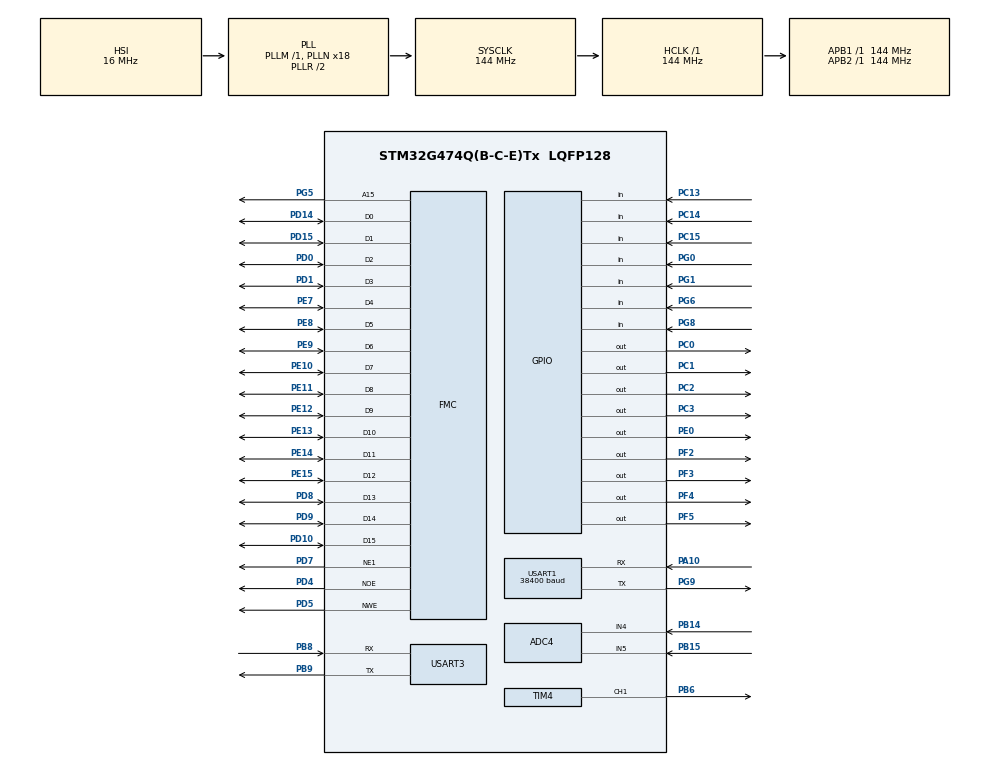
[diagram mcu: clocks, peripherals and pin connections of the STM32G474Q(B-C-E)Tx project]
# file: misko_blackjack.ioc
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ADC4.Channel-0\#ChannelRegularConversion=ADC_CHANNEL_4
ADC4.Channel-1\#ChannelRegularConversion=ADC_CHANNEL_5
ADC4.ClockPrescaler=ADC_CLOCK_SYNC_PCLK_DIV4
ADC4.DMAContinuousRequests=ENABLE
ADC4.ExternalTrigConv=ADC_EXTERNALTRIG_T1_TRGO2
ADC4.NbrOfConversion=2
ADC4.NbrOfConversionFlag=1
ADC4.OffsetNumber-0\#ChannelRegularConversion=ADC_OFFSET_NONE
ADC4.OffsetNumber-1\#ChannelRegularConversion=ADC_OFFSET_NONE
ADC4.Rank-0\#ChannelRegularConversion=1
ADC4.Rank-1\#ChannelRegularConversion=2
ADC4.SamplingTime-0\#ChannelRegularConversion=ADC_SAMPLETIME_2CYCLES_5
ADC4.SamplingTime-1\#ChannelRegularConversion=ADC_SAMPLETIME_2CYCLES_5
Dma.ADC4.0.Direction=DMA_PERIPH_TO_MEMORY
Dma.ADC4.0.EventEnable=DISABLE
Dma.ADC4.0.Instance=DMA1_Channel1
Dma.ADC4.0.MemDataAlignment=DMA_MDATAALIGN_HALFWORD
Dma.ADC4.0.MemInc=DMA_MINC_ENABLE
Dma.ADC4.0.Mode=DMA_CIRCULAR
Dma.ADC4.0.PeriphDataAlignment=DMA_PDATAALIGN_HALFWORD
Dma.ADC4.0.PeriphInc=DMA_PINC_DISABLE
Dma.ADC4.0.Polarity=HAL_DMAMUX_REQ_GEN_RISING
Dma.ADC4.0.Priority=DMA_PRIORITY_LOW
Dma.ADC4.0.RequestNumber=1
Dma.ADC4.0.SignalID=NONE
Dma.ADC4.0.SyncEnable=DISABLE
Dma.ADC4.0.SyncPolarity=HAL_DMAMUX_SYNC_NO_EVENT
Dma.ADC4.0.SyncRequestNumber=1
Dma.ADC4.0.SyncSignalID=NONE
Dma.Request0=ADC4
FMC.AddressSetupTime1=1
FMC.BusTurnAroundDuration1=1
FMC.DataHoldTime1=1
FMC.DataSetupTime1=1
Mcu.Family=STM32G4
Mcu.Name=STM32G474Q(B-C-E)Tx
Mcu.Package=LQFP128
NVIC.DMA1_Channel1_IRQn=true\:0\:0\:false\:false\:true\:false\:true\:true
NVIC.PriorityGroup=NVIC_PRIORITYGROUP_4
NVIC.TIM6_DAC_IRQn=true\:0\:0\:false\:false\:true\:true\:true\:true
NVIC.USART1_IRQn=true\:0\:0\:false\:false\:true\:true\:true\:true
NVIC.USART3_IRQn=true\:0\:0\:false\:false\:true\:true\:true\:true
PA10.Mode=Asynchronous
PA10.Signal=USART1_RX
PB14.Mode=IN4-Single-Ended
PB14.Signal=ADC4_IN4
PB15.Mode=IN5-Single-Ended
PB15.Signal=ADC4_IN5
PB6.Signal=S_TIM4_CH1
PB8-BOOT0.Mode=Asynchronous
PB8-BOOT0.Signal=USART3_RX
PB9.Mode=Asynchronous
PB9.Signal=USART3_TX
PC0.Signal=GPIO_Output
PC1.Signal=GPIO_Output
PC12.Signal=UART5_TX
PC13.GPIO_PuPd=GPIO_PULLUP
PC13.Signal=GPIO_Input
PC14-OSC32_IN.GPIO_PuPd=GPIO_PULLUP
PC14-OSC32_IN.Signal=GPIO_Input
PC15-OSC32_OUT.GPIO_PuPd=GPIO_PULLUP
PC15-OSC32_OUT.Signal=GPIO_Input
PC2.Signal=GPIO_Output
PC3.Signal=GPIO_Output
PD0.Signal=FMC_D2_DA2
PD1.Signal=FMC_D3_DA3
PD10.Signal=FMC_D15_DA15
PD14.Signal=FMC_D0_DA0
PD15.Signal=FMC_D1_DA1
PD2.Signal=UART5_RX
PD4.Signal=FMC_NOE
PD5.Signal=FMC_NWE
PD7.Mode=NorPsramChipSelect1_1
PD7.Signal=FMC_NE1
PD8.Signal=FMC_D13_DA13
PD9.Signal=FMC_D14_DA14
PE0.Signal=GPIO_Output
PE10.Signal=FMC_D7_DA7
PE11.Signal=FMC_D8_DA8
PE12.Signal=FMC_D9_DA9
PE13.Signal=FMC_D10_DA10
PE14.Signal=FMC_D11_DA11
PE15.Signal=FMC_D12_DA12
PE7.Signal=FMC_D4_DA4
PE8.Signal=FMC_D5_DA5
PE9.Signal=FMC_D6_DA6
PF2.Signal=GPIO_Output
PF3.Signal=GPIO_Output
PF4.Signal=GPIO_Output
PF5.Signal=GPIO_Output
PG0.GPIO_PuPd=GPIO_PULLUP
PG0.Signal=GPIO_Input
PG1.GPIO_PuPd=GPIO_PULLUP
PG1.Signal=GPIO_Input
PG5.Signal=FMC_A15
PG6.GPIO_PuPd=GPIO_PULLUP
PG6.Signal=GPIO_Input
PG8.GPIO_PuPd=GPIO_PULLUP
PG8.Signal=GPIO_Input
PG9.Mode=Asynchronous
PG9.Signal=USART1_TX
ProjectManager.HeapSize=0x200
ProjectManager.StackSize=0x400
ProjectManager.TargetToolchain=STM32CubeIDE
RCC.ADC12Freq_Value=144000000
RCC.ADC345Freq_Value=144000000
RCC.AHBFreq_Value=144000000
RCC.APB1Freq_Value=144000000
RCC.APB1TimFreq_Value=144000000
RCC.APB2Freq_Value=144000000
RCC.APB2TimFreq_Value=144000000
RCC.CortexFreq_Value=144000000
RCC.EXTERNAL_CLOCK_VALUE=12288000
RCC.HCLKFreq_Value=144000000
RCC.HSE_VALUE=8000000
RCC.HSI48_VALUE=48000000
RCC.HSI_VALUE=16000000
RCC.LSE_VALUE=32768
RCC.PLLN=18
RCC.PLLQ=RCC_PLLQ_DIV6
RCC.SYSCLKFreq_VALUE=144000000
RCC.SYSCLKSource=RCC_SYSCLKSOURCE_PLLCLK
RCC.USBFreq_Value=48000000
RCC.VCOOutputFreq_Value=288000000
SH.FMC_A15.0=FMC_A15,A15_1
SH.FMC_D0_DA0.0=FMC_D0,16b-d1
SH.FMC_D10_DA10.0=FMC_D10,16b-d1
SH.FMC_D11_DA11.0=FMC_D11,16b-d1
SH.FMC_D12_DA12.0=FMC_D12,16b-d1
SH.FMC_D13_DA13.0=FMC_D13,16b-d1
SH.FMC_D14_DA14.0=FMC_D14,16b-d1
SH.FMC_D15_DA15.0=FMC_D15,16b-d1
SH.FMC_D1_DA1.0=FMC_D1,16b-d1
SH.FMC_D2_DA2.0=FMC_D2,16b-d1
SH.FMC_D3_DA3.0=FMC_D3,16b-d1
SH.FMC_D4_DA4.0=FMC_D4,16b-d1
SH.FMC_D5_DA5.0=FMC_D5,16b-d1
SH.FMC_D6_DA6.0=FMC_D6,16b-d1
SH.FMC_D7_DA7.0=FMC_D7,16b-d1
SH.FMC_D8_DA8.0=FMC_D8,16b-d1
SH.FMC_D9_DA9.0=FMC_D9,16b-d1
SH.FMC_NOE.0=FMC_NOE,Lcd1
SH.FMC_NWE.0=FMC_NWE,Lcd1
SH.S_TIM4_CH1.0=TIM4_CH1,PWM Generation1 CH1
TIM1.PeriodNoDither=99
TIM1.Prescaler=14999
TIM1.TIM_MasterOutputTrigger2=TIM_TRGO2_UPDATE
TIM4.Channel-PWM\ Generation1\ CH1=TIM_CHANNEL_1
TIM4.PeriodNoDither=99
TIM4.Prescaler=1439
TIM6.PeriodNoDither=49999
TIM6.Prescaler=143
USART1.BaudRate=38400
USART1.VirtualMode-Asynchronous=VM_ASYNC
USART3.OverrunDisableParam=ADVFEATURE_OVERRUN_DISABLE
USART3.VirtualMode-Asynchronous=VM_ASYNC
VP_RNG_VS_RNG.Mode=RNG_Activate
VP_SYS_VS_DBSignals.Mode=DisableDeadBatterySignals
VP_TIM1_VS_ClockSourceINT.Mode=Internal
VP_TIM4_VS_ClockSourceINT.Mode=Internal
VP_TIM6_VS_ClockSourceINT.Mode=Enable_Timer
board=custom

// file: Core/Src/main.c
/* USER CODE BEGIN Header */
/**
  ******************************************************************************
  * @file           : main.c
  * @brief          : Main program body
  ******************************************************************************
  * @attention
  *
  * Copyright (c) 2026 STMicroelectronics.
  * All rights reserved.
  *
  * This software is licensed under terms that can be found in the LICENSE file
  * in the root directory of this software component.
  * If no LICENSE file comes with this software, it is provided AS-IS.
  *
  ******************************************************************************
  */
/* USER CODE END Header */
#include "main.h"

/* USER CODE BEGIN Includes */
#include "deck.h"
#include "hand.h"
#include "game_controller.h"
#include "kbd.h"
#include "device_mode.h"
#include "joystick.h"
#include "SCI.h"
#include "menu.h"
#include "communication.h"
#include "blackjack_app.h"
#include "lcd.h"
#include "blackjack_ui.h"
#include "LED.h"
#include <string.h>
#include "stm32g4xx_ll_usart.h"
/* USER CODE END Includes */

ADC_HandleTypeDef hadc4;
DMA_HandleTypeDef hdma_adc4;

RNG_HandleTypeDef hrng;

TIM_HandleTypeDef htim1;

UART_HandleTypeDef huart1;

SRAM_HandleTypeDef hsram1;

/* USER CODE BEGIN PV */
blackjack_app_t app;
/* USER CODE END PV */

void SystemClock_Config(void);
static void MX_GPIO_Init(void);
static void MX_DMA_Init(void);
static void MX_ADC4_Init(void);
static void MX_FMC_Init(void);
static void MX_TIM1_Init(void);
static void MX_TIM4_Init(void);
static void MX_TIM6_Init(void);
static void MX_USART3_UART_Init(void);
static void MX_RNG_Init(void);
static void MX_USART1_UART_Init(void);

int main(void)
{

  /* MCU Configuration--------------------------------------------------------*/

  /* Reset of all peripherals, Initializes the Flash interface and the Systick. */
  HAL_Init();

  /* Configure the system clock */
  SystemClock_Config();

  /* Initialize all configured peripherals */
  MX_GPIO_Init();
  MX_DMA_Init();
  MX_ADC4_Init();
  MX_FMC_Init();
  MX_TIM1_Init();
  MX_TIM4_Init();
  MX_TIM6_Init();
  MX_USART3_UART_Init();
  MX_RNG_Init();
  MX_USART1_UART_Init();
  /* USER CODE BEGIN 2 */
  SCI_init();
  JOY_init(&hadc4, &htim1);
  KBD_init();
  BlackjackApp_Init(&app);
  LCD_Init();
  LCD_uGUI_init();
  SCI_RX_buffer_flush();

  /* USER CODE END 2 */

  /* Infinite loop */
  /* USER CODE BEGIN WHILE */

  while (1)
  {

	  KBD_scan();

	  BlackjackApp_Update(&app);
	  BlackjackUI_Update(&app);

    /* USER CODE END WHILE */

  }
}

void SystemClock_Config(void)
{
  RCC_OscInitTypeDef RCC_OscInitStruct = {0};
  RCC_ClkInitTypeDef RCC_ClkInitStruct = {0};

  /** Configure the main internal regulator output voltage
  */
  HAL_PWREx_ControlVoltageScaling(PWR_REGULATOR_VOLTAGE_SCALE1);

  /** Initializes the RCC Oscillators according to the specified parameters
  * in the RCC_OscInitTypeDef structure.
  */
  RCC_OscInitStruct.OscillatorType = RCC_OSCILLATORTYPE_HSI;
  RCC_OscInitStruct.HSIState = RCC_HSI_ON;
  RCC_OscInitStruct.HSICalibrationValue = RCC_HSICALIBRATION_DEFAULT;
  RCC_OscInitStruct.PLL.PLLState = RCC_PLL_ON;
  RCC_OscInitStruct.PLL.PLLSource = RCC_PLLSOURCE_HSI;
  RCC_OscInitStruct.PLL.PLLM = RCC_PLLM_DIV1;
  RCC_OscInitStruct.PLL.PLLN = 18;
  RCC_OscInitStruct.PLL.PLLP = RCC_PLLP_DIV2;
  RCC_OscInitStruct.PLL.PLLQ = RCC_PLLQ_DIV6;
  RCC_OscInitStruct.PLL.PLLR = RCC_PLLR_DIV2;
  if (HAL_RCC_OscConfig(&RCC_OscInitStruct) != HAL_OK)
  {
    Error_Handler();
  }

  /** Initializes the CPU, AHB and APB buses clocks
  */
  RCC_ClkInitStruct.ClockType = RCC_CLOCKTYPE_HCLK|RCC_CLOCKTYPE_SYSCLK
                              |RCC_CLOCKTYPE_PCLK1|RCC_CLOCKTYPE_PCLK2;
  RCC_ClkInitStruct.SYSCLKSource = RCC_SYSCLKSOURCE_PLLCLK;
  RCC_ClkInitStruct.AHBCLKDivider = RCC_SYSCLK_DIV1;
  RCC_ClkInitStruct.APB1CLKDivider = RCC_HCLK_DIV1;
  RCC_ClkInitStruct.APB2CLKDivider = RCC_HCLK_DIV1;

  if (HAL_RCC_ClockConfig(&RCC_ClkInitStruct, FLASH_LATENCY_4) != HAL_OK)
  {
    Error_Handler();
  }
}

static void MX_ADC4_Init(void)
{

  ADC_ChannelConfTypeDef sConfig = {0};

  /** Common config
  */
  hadc4.Instance = ADC4;
  hadc4.Init.ClockPrescaler = ADC_CLOCK_SYNC_PCLK_DIV4;
  hadc4.Init.Resolution = ADC_RESOLUTION_12B;
  hadc4.Init.DataAlign = ADC_DATAALIGN_RIGHT;
  hadc4.Init.GainCompensation = 0;
  hadc4.Init.ScanConvMode = ADC_SCAN_ENABLE;
  hadc4.Init.EOCSelection = ADC_EOC_SINGLE_CONV;
  hadc4.Init.LowPowerAutoWait = DISABLE;
  hadc4.Init.ContinuousConvMode = DISABLE;
  hadc4.Init.NbrOfConversion = 2;
  hadc4.Init.DiscontinuousConvMode = DISABLE;
  hadc4.Init.ExternalTrigConv = ADC_EXTERNALTRIG_T1_TRGO2;
  hadc4.Init.ExternalTrigConvEdge = ADC_EXTERNALTRIGCONVEDGE_RISING;
  hadc4.Init.DMAContinuousRequests = ENABLE;
  hadc4.Init.Overrun = ADC_OVR_DATA_PRESERVED;
  hadc4.Init.OversamplingMode = DISABLE;
  if (HAL_ADC_Init(&hadc4) != HAL_OK)
  {
    Error_Handler();
  }

  /** Configure Regular Channel
  */
  sConfig.Channel = ADC_CHANNEL_4;
  sConfig.Rank = ADC_REGULAR_RANK_1;
  sConfig.SamplingTime = ADC_SAMPLETIME_2CYCLES_5;
  sConfig.SingleDiff = ADC_SINGLE_ENDED;
  sConfig.OffsetNumber = ADC_OFFSET_NONE;
  sConfig.Offset = 0;
  if (HAL_ADC_ConfigChannel(&hadc4, &sConfig) != HAL_OK)
  {
    Error_Handler();
  }

  /** Configure Regular Channel
  */
  sConfig.Channel = ADC_CHANNEL_5;
  sConfig.Rank = ADC_REGULAR_RANK_2;
  if (HAL_ADC_ConfigChannel(&hadc4, &sConfig) != HAL_OK)
  {
    Error_Handler();
  }

}

static void MX_RNG_Init(void)
{

  hrng.Instance = RNG;
  hrng.Init.ClockErrorDetection = RNG_CED_ENABLE;
  if (HAL_RNG_Init(&hrng) != HAL_OK)
  {
    Error_Handler();
  }

}

static void MX_TIM1_Init(void)
{

  TIM_ClockConfigTypeDef sClockSourceConfig = {0};
  TIM_MasterConfigTypeDef sMasterConfig = {0};

  htim1.Instance = TIM1;
  htim1.Init.Prescaler = 14999;
  htim1.Init.CounterMode = TIM_COUNTERMODE_UP;
  htim1.Init.Period = 99;
  htim1.Init.ClockDivision = TIM_CLOCKDIVISION_DIV1;
  htim1.Init.RepetitionCounter = 0;
  htim1.Init.AutoReloadPreload = TIM_AUTORELOAD_PRELOAD_DISABLE;
  if (HAL_TIM_Base_Init(&htim1) != HAL_OK)
  {
    Error_Handler();
  }
  sClockSourceConfig.ClockSource = TIM_CLOCKSOURCE_INTERNAL;
  if (HAL_TIM_ConfigClockSource(&htim1, &sClockSourceConfig) != HAL_OK)
  {
    Error_Handler();
  }
  sMasterConfig.MasterOutputTrigger = TIM_TRGO_RESET;
  sMasterConfig.MasterOutputTrigger2 = TIM_TRGO2_UPDATE;
  sMasterConfig.MasterSlaveMode = TIM_MASTERSLAVEMODE_DISABLE;
  if (HAL_TIMEx_MasterConfigSynchronization(&htim1, &sMasterConfig) != HAL_OK)
  {
    Error_Handler();
  }

}

static void MX_TIM4_Init(void)
{

  LL_TIM_InitTypeDef TIM_InitStruct = {0};
  LL_TIM_OC_InitTypeDef TIM_OC_InitStruct = {0};

  LL_GPIO_InitTypeDef GPIO_InitStruct = {0};

  /* Peripheral clock enable */
  LL_APB1_GRP1_EnableClock(LL_APB1_GRP1_PERIPH_TIM4);

  TIM_InitStruct.Prescaler = 1439;
  TIM_InitStruct.CounterMode = LL_TIM_COUNTERMODE_UP;
  TIM_InitStruct.Autoreload = 99;
  TIM_InitStruct.ClockDivision = LL_TIM_CLOCKDIVISION_DIV1;
  LL_TIM_Init(TIM4, &TIM_InitStruct);
  LL_TIM_DisableARRPreload(TIM4);
  LL_TIM_SetClockSource(TIM4, LL_TIM_CLOCKSOURCE_INTERNAL);
  LL_TIM_OC_EnablePreload(TIM4, LL_TIM_CHANNEL_CH1);
  TIM_OC_InitStruct.OCMode = LL_TIM_OCMODE_PWM1;
  TIM_OC_InitStruct.OCState = LL_TIM_OCSTATE_DISABLE;
  TIM_OC_InitStruct.OCNState = LL_TIM_OCSTATE_DISABLE;
  TIM_OC_InitStruct.CompareValue = 0;
  TIM_OC_InitStruct.OCPolarity = LL_TIM_OCPOLARITY_HIGH;
  LL_TIM_OC_Init(TIM4, LL_TIM_CHANNEL_CH1, &TIM_OC_InitStruct);
  LL_TIM_OC_DisableFast(TIM4, LL_TIM_CHANNEL_CH1);
  LL_TIM_SetTriggerOutput(TIM4, LL_TIM_TRGO_RESET);
  LL_TIM_DisableMasterSlaveMode(TIM4);
  LL_AHB2_GRP1_EnableClock(LL_AHB2_GRP1_PERIPH_GPIOB);
  /**TIM4 GPIO Configuration
  PB6   ------> TIM4_CH1
  */
  GPIO_InitStruct.Pin = LL_GPIO_PIN_6;
  GPIO_InitStruct.Mode = LL_GPIO_MODE_ALTERNATE;
  GPIO_InitStruct.Speed = LL_GPIO_SPEED_FREQ_LOW;
  GPIO_InitStruct.OutputType = LL_GPIO_OUTPUT_PUSHPULL;
  GPIO_InitStruct.Pull = LL_GPIO_PULL_NO;
  GPIO_InitStruct.Alternate = LL_GPIO_AF_2;
  LL_GPIO_Init(GPIOB, &GPIO_InitStruct);

}

static void MX_TIM6_Init(void)
{

  LL_TIM_InitTypeDef TIM_InitStruct = {0};

  /* Peripheral clock enable */
  LL_APB1_GRP1_EnableClock(LL_APB1_GRP1_PERIPH_TIM6);

  /* TIM6 interrupt Init */
  NVIC_SetPriority(TIM6_DAC_IRQn, NVIC_EncodePriority(NVIC_GetPriorityGrouping(),0, 0));
  NVIC_EnableIRQ(TIM6_DAC_IRQn);

  TIM_InitStruct.Prescaler = 143;
  TIM_InitStruct.CounterMode = LL_TIM_COUNTERMODE_UP;
  TIM_InitStruct.Autoreload = 49999;
  LL_TIM_Init(TIM6, &TIM_InitStruct);
  LL_TIM_DisableARRPreload(TIM6);
  LL_TIM_SetTriggerOutput(TIM6, LL_TIM_TRGO_RESET);
  LL_TIM_DisableMasterSlaveMode(TIM6);

}

static void MX_USART1_UART_Init(void)
{

  huart1.Instance = USART1;
  huart1.Init.BaudRate = 9600;
  huart1.Init.WordLength = UART_WORDLENGTH_8B;
  huart1.Init.StopBits = UART_STOPBITS_1;
  huart1.Init.Parity = UART_PARITY_NONE;
  huart1.Init.Mode = UART_MODE_TX_RX;
  huart1.Init.HwFlowCtl = UART_HWCONTROL_NONE;
  huart1.Init.OverSampling = UART_OVERSAMPLING_16;
  huart1.Init.OneBitSampling = UART_ONE_BIT_SAMPLE_DISABLE;
  huart1.Init.ClockPrescaler = UART_PRESCALER_DIV1;
  huart1.AdvancedInit.AdvFeatureInit = UART_ADVFEATURE_NO_INIT;
  if (HAL_UART_Init(&huart1) != HAL_OK)
  {
    Error_Handler();
  }
  if (HAL_UARTEx_SetTxFifoThreshold(&huart1, UART_TXFIFO_THRESHOLD_1_8) != HAL_OK)
  {
    Error_Handler();
  }
  if (HAL_UARTEx_SetRxFifoThreshold(&huart1, UART_RXFIFO_THRESHOLD_1_8) != HAL_OK)
  {
    Error_Handler();
  }
  if (HAL_UARTEx_DisableFifoMode(&huart1) != HAL_OK)
  {
    Error_Handler();
  }
  /* USER CODE BEGIN USART1_Init 2 */
  NVIC_SetPriority(USART1_IRQn, NVIC_EncodePriority(NVIC_GetPriorityGrouping(),0,0));
  NVIC_EnableIRQ(USART1_IRQn);
  /* USER CODE END USART1_Init 2 */

}

static void MX_USART3_UART_Init(void)
{

  LL_USART_InitTypeDef USART_InitStruct = {0};

  LL_GPIO_InitTypeDef GPIO_InitStruct = {0};
  RCC_PeriphCLKInitTypeDef PeriphClkInit = {0};

  /** Initializes the peripherals clocks
  */
  PeriphClkInit.PeriphClockSelection = RCC_PERIPHCLK_USART3;
  PeriphClkInit.Usart3ClockSelection = RCC_USART3CLKSOURCE_PCLK1;
  if (HAL_RCCEx_PeriphCLKConfig(&PeriphClkInit) != HAL_OK)
  {
    Error_Handler();
  }

  /* Peripheral clock enable */
  LL_APB1_GRP1_EnableClock(LL_APB1_GRP1_PERIPH_USART3);

  LL_AHB2_GRP1_EnableClock(LL_AHB2_GRP1_PERIPH_GPIOB);
  /**USART3 GPIO Configuration
  PB8-BOOT0   ------> USART3_RX
  PB9   ------> USART3_TX
  */
  GPIO_InitStruct.Pin = LL_GPIO_PIN_8;
  GPIO_InitStruct.Mode = LL_GPIO_MODE_ALTERNATE;
  GPIO_InitStruct.Speed = LL_GPIO_SPEED_FREQ_LOW;
  GPIO_InitStruct.OutputType = LL_GPIO_OUTPUT_PUSHPULL;
  GPIO_InitStruct.Pull = LL_GPIO_PULL_NO;
  GPIO_InitStruct.Alternate = LL_GPIO_AF_7;
  LL_GPIO_Init(GPIOB, &GPIO_InitStruct);

  GPIO_InitStruct.Pin = LL_GPIO_PIN_9;
  GPIO_InitStruct.Mode = LL_GPIO_MODE_ALTERNATE;
  GPIO_InitStruct.Speed = LL_GPIO_SPEED_FREQ_LOW;
  GPIO_InitStruct.OutputType = LL_GPIO_OUTPUT_PUSHPULL;
  GPIO_InitStruct.Pull = LL_GPIO_PULL_NO;
  GPIO_InitStruct.Alternate = LL_GPIO_AF_7;
  LL_GPIO_Init(GPIOB, &GPIO_InitStruct);

  /* USART3 interrupt Init */
  NVIC_SetPriority(USART3_IRQn, NVIC_EncodePriority(NVIC_GetPriorityGrouping(),0, 0));
  NVIC_EnableIRQ(USART3_IRQn);

  USART_InitStruct.PrescalerValue = LL_USART_PRESCALER_DIV1;
  USART_InitStruct.BaudRate = 115200;
  USART_InitStruct.DataWidth = LL_USART_DATAWIDTH_8B;
  USART_InitStruct.StopBits = LL_USART_STOPBITS_1;
  USART_InitStruct.Parity = LL_USART_PARITY_NONE;
  USART_InitStruct.TransferDirection = LL_USART_DIRECTION_TX_RX;
  USART_InitStruct.HardwareFlowControl = LL_USART_HWCONTROL_NONE;
  USART_InitStruct.OverSampling = LL_USART_OVERSAMPLING_16;
  LL_USART_Init(USART3, &USART_InitStruct);
  LL_USART_SetTXFIFOThreshold(USART3, LL_USART_FIFOTHRESHOLD_1_8);
  LL_USART_SetRXFIFOThreshold(USART3, LL_USART_FIFOTHRESHOLD_1_8);
  LL_USART_DisableFIFO(USART3);
  LL_USART_DisableOverrunDetect(USART3);
  LL_USART_ConfigAsyncMode(USART3);

  LL_USART_Enable(USART3);

  /* Polling USART3 initialisation */
  while((!(LL_USART_IsActiveFlag_TEACK(USART3))) || (!(LL_USART_IsActiveFlag_REACK(USART3))))
  {
  }

}

static void MX_DMA_Init(void)
{

  /* DMA controller clock enable */
  __HAL_RCC_DMAMUX1_CLK_ENABLE();
  __HAL_RCC_DMA1_CLK_ENABLE();

  /* DMA interrupt init */
  /* DMA1_Channel1_IRQn interrupt configuration */
  HAL_NVIC_SetPriority(DMA1_Channel1_IRQn, 0, 0);
  HAL_NVIC_EnableIRQ(DMA1_Channel1_IRQn);

}

/* FMC initialization function */
static void MX_FMC_Init(void)
{

  FMC_NORSRAM_TimingTypeDef Timing = {0};

  /** Perform the SRAM1 memory initialization sequence
  */
  hsram1.Instance = FMC_NORSRAM_DEVICE;
  hsram1.Extended = FMC_NORSRAM_EXTENDED_DEVICE;
  /* hsram1.Init */
  hsram1.Init.NSBank = FMC_NORSRAM_BANK1;
  hsram1.Init.DataAddressMux = FMC_DATA_ADDRESS_MUX_DISABLE;
  hsram1.Init.MemoryType = FMC_MEMORY_TYPE_SRAM;
  hsram1.Init.MemoryDataWidth = FMC_NORSRAM_MEM_BUS_WIDTH_16;
  hsram1.Init.BurstAccessMode = FMC_BURST_ACCESS_MODE_DISABLE;
  hsram1.Init.WaitSignalPolarity = FMC_WAIT_SIGNAL_POLARITY_LOW;
  hsram1.Init.WaitSignalActive = FMC_WAIT_TIMING_BEFORE_WS;
  hsram1.Init.WriteOperation = FMC_WRITE_OPERATION_ENABLE;
  hsram1.Init.WaitSignal = FMC_WAIT_SIGNAL_DISABLE;
  hsram1.Init.ExtendedMode = FMC_EXTENDED_MODE_DISABLE;
  hsram1.Init.AsynchronousWait = FMC_ASYNCHRONOUS_WAIT_DISABLE;
  hsram1.Init.WriteBurst = FMC_WRITE_BURST_DISABLE;
  hsram1.Init.ContinuousClock = FMC_CONTINUOUS_CLOCK_SYNC_ONLY;
  hsram1.Init.WriteFifo = FMC_WRITE_FIFO_ENABLE;
  hsram1.Init.NBLSetupTime = 0;
  hsram1.Init.PageSize = FMC_PAGE_SIZE_NONE;
  hsram1.Init.MaxChipSelectPulse = DISABLE;
  /* Timing */
  Timing.AddressSetupTime = 1;
  Timing.AddressHoldTime = 15;
  Timing.DataSetupTime = 1;
  Timing.DataHoldTime = 1;
  Timing.BusTurnAroundDuration = 1;
  Timing.CLKDivision = 16;
  Timing.DataLatency = 17;
  Timing.AccessMode = FMC_ACCESS_MODE_A;
  /* ExtTiming */

  if (HAL_SRAM_Init(&hsram1, &Timing, NULL) != HAL_OK)
  {
    Error_Handler( );
  }

}

static void MX_GPIO_Init(void)
{
  LL_GPIO_InitTypeDef GPIO_InitStruct = {0};

  /* GPIO Ports Clock Enable */
  LL_AHB2_GRP1_EnableClock(LL_AHB2_GRP1_PERIPH_GPIOC);
  LL_AHB2_GRP1_EnableClock(LL_AHB2_GRP1_PERIPH_GPIOF);
  LL_AHB2_GRP1_EnableClock(LL_AHB2_GRP1_PERIPH_GPIOE);
  LL_AHB2_GRP1_EnableClock(LL_AHB2_GRP1_PERIPH_GPIOB);
  LL_AHB2_GRP1_EnableClock(LL_AHB2_GRP1_PERIPH_GPIOD);
  LL_AHB2_GRP1_EnableClock(LL_AHB2_GRP1_PERIPH_GPIOG);
  LL_AHB2_GRP1_EnableClock(LL_AHB2_GRP1_PERIPH_GPIOA);

  /**/
  LL_GPIO_ResetOutputPin(GPIOF, LL_GPIO_PIN_3);

  /**/
  LL_GPIO_ResetOutputPin(GPIOF, LL_GPIO_PIN_4);

  /**/
  LL_GPIO_ResetOutputPin(GPIOF, LL_GPIO_PIN_5);

  /**/
  LL_GPIO_ResetOutputPin(GPIOC, LL_GPIO_PIN_0);

  /**/
  LL_GPIO_ResetOutputPin(GPIOC, LL_GPIO_PIN_1);

  /**/
  LL_GPIO_ResetOutputPin(GPIOC, LL_GPIO_PIN_2);

  /**/
  LL_GPIO_ResetOutputPin(GPIOC, LL_GPIO_PIN_3);

  /**/
  LL_GPIO_ResetOutputPin(GPIOF, LL_GPIO_PIN_2);

  /**/
  LL_GPIO_ResetOutputPin(GPIOE, LL_GPIO_PIN_0);

  /**/
  GPIO_InitStruct.Pin = LL_GPIO_PIN_13;
  GPIO_InitStruct.Mode = LL_GPIO_MODE_INPUT;
  GPIO_InitStruct.Pull = LL_GPIO_PULL_UP;
  LL_GPIO_Init(GPIOC, &GPIO_InitStruct);

  /**/
  GPIO_InitStruct.Pin = LL_GPIO_PIN_14;
  GPIO_InitStruct.Mode = LL_GPIO_MODE_INPUT;
  GPIO_InitStruct.Pull = LL_GPIO_PULL_UP;
  LL_GPIO_Init(GPIOC, &GPIO_InitStruct);

  /**/
  GPIO_InitStruct.Pin = LL_GPIO_PIN_15;
  GPIO_InitStruct.Mode = LL_GPIO_MODE_INPUT;
  GPIO_InitStruct.Pull = LL_GPIO_PULL_UP;
  LL_GPIO_Init(GPIOC, &GPIO_InitStruct);

  /**/
  GPIO_InitStruct.Pin = LL_GPIO_PIN_3;
  GPIO_InitStruct.Mode = LL_GPIO_MODE_OUTPUT;
  GPIO_InitStruct.Speed = LL_GPIO_SPEED_FREQ_LOW;
  GPIO_InitStruct.OutputType = LL_GPIO_OUTPUT_PUSHPULL;
  GPIO_InitStruct.Pull = LL_GPIO_PULL_NO;
  LL_GPIO_Init(GPIOF, &GPIO_InitStruct);

  /**/
  GPIO_InitStruct.Pin = LL_GPIO_PIN_4;
  GPIO_InitStruct.Mode = LL_GPIO_MODE_OUTPUT;
  GPIO_InitStruct.Speed = LL_GPIO_SPEED_FREQ_LOW;
  GPIO_InitStruct.OutputType = LL_GPIO_OUTPUT_PUSHPULL;
  GPIO_InitStruct.Pull = LL_GPIO_PULL_NO;
  LL_GPIO_Init(GPIOF, &GPIO_InitStruct);

  /**/
  GPIO_InitStruct.Pin = LL_GPIO_PIN_5;
  GPIO_InitStruct.Mode = LL_GPIO_MODE_OUTPUT;
  GPIO_InitStruct.Speed = LL_GPIO_SPEED_FREQ_LOW;
  GPIO_InitStruct.OutputType = LL_GPIO_OUTPUT_PUSHPULL;
  GPIO_InitStruct.Pull = LL_GPIO_PULL_NO;
  LL_GPIO_Init(GPIOF, &GPIO_InitStruct);

  /**/
  GPIO_InitStruct.Pin = LL_GPIO_PIN_0;
  GPIO_InitStruct.Mode = LL_GPIO_MODE_OUTPUT;
  GPIO_InitStruct.Speed = LL_GPIO_SPEED_FREQ_LOW;
  GPIO_InitStruct.OutputType = LL_GPIO_OUTPUT_PUSHPULL;
  GPIO_InitStruct.Pull = LL_GPIO_PULL_NO;
  LL_GPIO_Init(GPIOC, &GPIO_InitStruct);

  /**/
  GPIO_InitStruct.Pin = LL_GPIO_PIN_1;
  GPIO_InitStruct.Mode = LL_GPIO_MODE_OUTPUT;
  GPIO_InitStruct.Speed = LL_GPIO_SPEED_FREQ_LOW;
  GPIO_InitStruct.OutputType = LL_GPIO_OUTPUT_PUSHPULL;
  GPIO_InitStruct.Pull = LL_GPIO_PULL_NO;
  LL_GPIO_Init(GPIOC, &GPIO_InitStruct);

  /**/
  GPIO_InitStruct.Pin = LL_GPIO_PIN_2;
  GPIO_InitStruct.Mode = LL_GPIO_MODE_OUTPUT;
  GPIO_InitStruct.Speed = LL_GPIO_SPEED_FREQ_LOW;
  GPIO_InitStruct.OutputType = LL_GPIO_OUTPUT_PUSHPULL;
  GPIO_InitStruct.Pull = LL_GPIO_PULL_NO;
  LL_GPIO_Init(GPIOC, &GPIO_InitStruct);

  /**/
  GPIO_InitStruct.Pin = LL_GPIO_PIN_3;
  GPIO_InitStruct.Mode = LL_GPIO_MODE_OUTPUT;
  GPIO_InitStruct.Speed = LL_GPIO_SPEED_FREQ_LOW;
  GPIO_InitStruct.OutputType = LL_GPIO_OUTPUT_PUSHPULL;
  GPIO_InitStruct.Pull = LL_GPIO_PULL_NO;
  LL_GPIO_Init(GPIOC, &GPIO_InitStruct);

  /**/
  GPIO_InitStruct.Pin = LL_GPIO_PIN_2;
  GPIO_InitStruct.Mode = LL_GPIO_MODE_OUTPUT;
  GPIO_InitStruct.Speed = LL_GPIO_SPEED_FREQ_LOW;
  GPIO_InitStruct.OutputType = LL_GPIO_OUTPUT_PUSHPULL;
  GPIO_InitStruct.Pull = LL_GPIO_PULL_NO;
  LL_GPIO_Init(GPIOF, &GPIO_InitStruct);

  /**/
  GPIO_InitStruct.Pin = LL_GPIO_PIN_0;
  GPIO_InitStruct.Mode = LL_GPIO_MODE_INPUT;
  GPIO_InitStruct.Pull = LL_GPIO_PULL_UP;
  LL_GPIO_Init(GPIOG, &GPIO_InitStruct);

  /**/
  GPIO_InitStruct.Pin = LL_GPIO_PIN_1;
  GPIO_InitStruct.Mode = LL_GPIO_MODE_INPUT;
  GPIO_InitStruct.Pull = LL_GPIO_PULL_UP;
  LL_GPIO_Init(GPIOG, &GPIO_InitStruct);

  /**/
  GPIO_InitStruct.Pin = LL_GPIO_PIN_12;
  GPIO_InitStruct.Mode = LL_GPIO_MODE_ALTERNATE;
  GPIO_InitStruct.Speed = LL_GPIO_SPEED_FREQ_LOW;
  GPIO_InitStruct.OutputType = LL_GPIO_OUTPUT_PUSHPULL;
  GPIO_InitStruct.Pull = LL_GPIO_PULL_NO;
  GPIO_InitStruct.Alternate = LL_GPIO_AF_5;
  LL_GPIO_Init(GPIOC, &GPIO_InitStruct);

  /**/
  GPIO_InitStruct.Pin = LL_GPIO_PIN_6;
  GPIO_InitStruct.Mode = LL_GPIO_MODE_INPUT;
  GPIO_InitStruct.Pull = LL_GPIO_PULL_UP;
  LL_GPIO_Init(GPIOG, &GPIO_InitStruct);

  /**/
  GPIO_InitStruct.Pin = LL_GPIO_PIN_8;
  GPIO_InitStruct.Mode = LL_GPIO_MODE_INPUT;
  GPIO_InitStruct.Pull = LL_GPIO_PULL_UP;
  LL_GPIO_Init(GPIOG, &GPIO_InitStruct);

  /**/
  GPIO_InitStruct.Pin = LL_GPIO_PIN_2;
  GPIO_InitStruct.Mode = LL_GPIO_MODE_ALTERNATE;
  GPIO_InitStruct.Speed = LL_GPIO_SPEED_FREQ_LOW;
  GPIO_InitStruct.OutputType = LL_GPIO_OUTPUT_PUSHPULL;
  GPIO_InitStruct.Pull = LL_GPIO_PULL_NO;
  GPIO_InitStruct.Alternate = LL_GPIO_AF_5;
  LL_GPIO_Init(GPIOD, &GPIO_InitStruct);

  /**/
  GPIO_InitStruct.Pin = LL_GPIO_PIN_0;
  GPIO_InitStruct.Mode = LL_GPIO_MODE_OUTPUT;
  GPIO_InitStruct.Speed = LL_GPIO_SPEED_FREQ_LOW;
  GPIO_InitStruct.OutputType = LL_GPIO_OUTPUT_PUSHPULL;
  GPIO_InitStruct.Pull = LL_GPIO_PULL_NO;
  LL_GPIO_Init(GPIOE, &GPIO_InitStruct);

  /* USER CODE BEGIN MX_GPIO_Init_2 */
  GPIO_InitStruct.Pin = LL_GPIO_PIN_3;
  GPIO_InitStruct.Mode = LL_GPIO_MODE_OUTPUT;
  GPIO_InitStruct.Speed = LL_GPIO_SPEED_FREQ_LOW;
  GPIO_InitStruct.OutputType = LL_GPIO_OUTPUT_PUSHPULL;
  GPIO_InitStruct.Pull = LL_GPIO_PULL_NO;
  LL_GPIO_Init(GPIOD, &GPIO_InitStruct);

  LL_GPIO_SetOutputPin(GPIOD, LL_GPIO_PIN_3);
  /* USER CODE END MX_GPIO_Init_2 */
}

void Error_Handler(void)
{
  __disable_irq();
  while (1)
  {
  }
}
